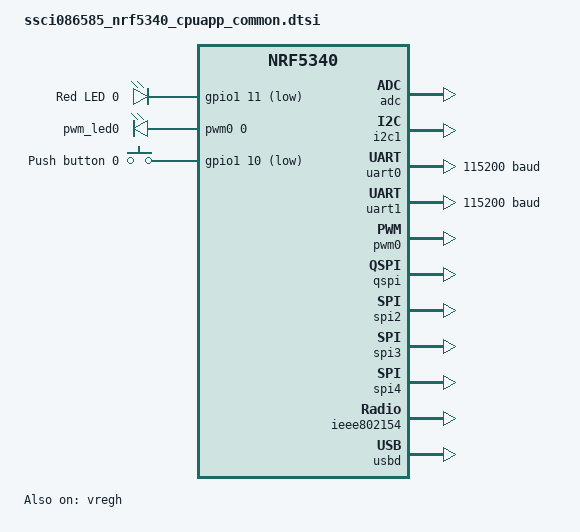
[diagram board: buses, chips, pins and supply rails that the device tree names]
/*
 * Copyright (c) 2023 Raytac Corporation
 *
 * SPDX-License-Identifier: Apache-2.0
 */
#include "ssci086585_nrf5340_cpuapp_common-pinctrl.dtsi"
#include <zephyr/dt-bindings/input/input-event-codes.h>

/ {

	chosen {
		zephyr,console = &uart0;
		zephyr,shell-uart = &uart0;
		zephyr,uart-mcumgr = &uart0;
		zephyr,bt-mon-uart = &uart0;
		zephyr,bt-c2h-uart = &uart0;
		zephyr,bt-hci = &bt_hci_ipc0;
		nordic,802154-spinel-ipc = &ipc0;
		zephyr,ieee802154 = &ieee802154;
	};

	leds {
		compatible = "gpio-leds";
		led0: led_0 {
			gpios = <&gpio1 11 GPIO_ACTIVE_LOW>;
			label = "Red LED 0";
		};
	};

	pwmleds {
		compatible = "pwm-leds";
		pwm_led0: pwm_led_0 {
			pwms = <&pwm0 0 PWM_MSEC(20) PWM_POLARITY_INVERTED>;
		};
	};

	buttons {
		compatible = "gpio-keys";
		button0: button_0 {
			gpios = <&gpio1 10 GPIO_ACTIVE_LOW>;
			label = "Push button 0";
		};
	};

	/* These aliases are provided for compatibility with samples */
	aliases {
		led0 = &led0;
		pwm-led0 = &pwm_led0;
		sw0 = &button0;
		bootloader-led0 = &led0;
		mcuboot-button0 = &button0;
		mcuboot-led0 = &led0;
		watchdog0 = &wdt0;
	};
};

&vregmain {
	regulator-initial-mode = <NRF5X_REG_MODE_DCDC>;
};

&vregradio {
	regulator-initial-mode = <NRF5X_REG_MODE_DCDC>;
};

&vregh {
	status = "okay";
};

&adc {
	status = "okay";
};

&gpiote {
	status = "okay";
};

&gpio0 {
	status = "okay";
};

&gpio1 {
	status = "okay";
};

&i2c1 {
	compatible = "nordic,nrf-twim";
	status = "okay";
	pinctrl-0 = <&i2c1_default>;
	pinctrl-1 = <&i2c1_sleep>;
	pinctrl-names = "default", "sleep";
};

&uart0 {
	status = "okay";
	current-speed = <115200>;
	pinctrl-0 = <&uart0_default>;
	pinctrl-1 = <&uart0_sleep>;
	pinctrl-names = "default", "sleep";
};

&uart1 {
	compatible = "nordic,nrf-uarte";
	current-speed = <115200>;
	pinctrl-0 = <&uart1_default>;
	pinctrl-1 = <&uart1_sleep>;
	pinctrl-names = "default", "sleep";
};

&pwm0 {
	status = "okay";
	pinctrl-0 = <&pwm0_default>;
	pinctrl-1 = <&pwm0_sleep>;
	pinctrl-names = "default", "sleep";
};

&qspi {
	status = "okay";
	pinctrl-0 = <&qspi_default>;
	pinctrl-1 = <&qspi_sleep>;
	pinctrl-names = "default", "sleep";
};

&spi2 {
	compatible = "nordic,nrf-spim";
	status = "okay";
	cs-gpios = <&gpio0 25 GPIO_ACTIVE_LOW>;

	pinctrl-0 = <&spi2_default>;
	pinctrl-1 = <&spi2_sleep>;
	pinctrl-names = "default", "sleep";
};

&spi3 {
	compatible = "nordic,nrf-spim";
	status = "okay";
	cs-gpios = <&gpio1 12 GPIO_ACTIVE_LOW>;

	pinctrl-0 = <&spi3_default>;
	pinctrl-1 = <&spi3_sleep>;
	pinctrl-names = "default", "sleep";
};

&spi4 {
	compatible = "nordic,nrf-spim";
	status = "okay";
	cs-gpios = <&gpio0 11 GPIO_ACTIVE_LOW>;

	pinctrl-0 = <&spi4_default>;
	pinctrl-1 = <&spi4_sleep>;
	pinctrl-names = "default", "sleep";
};

&ieee802154 {
	status = "okay";
};

zephyr_udc0: &usbd {
	compatible = "nordic,nrf-usbd";
	status = "okay";
};

/* Include default memory partition configuration file */
#include <common/nordic/nrf5340_cpuapp_partition.dtsi>
